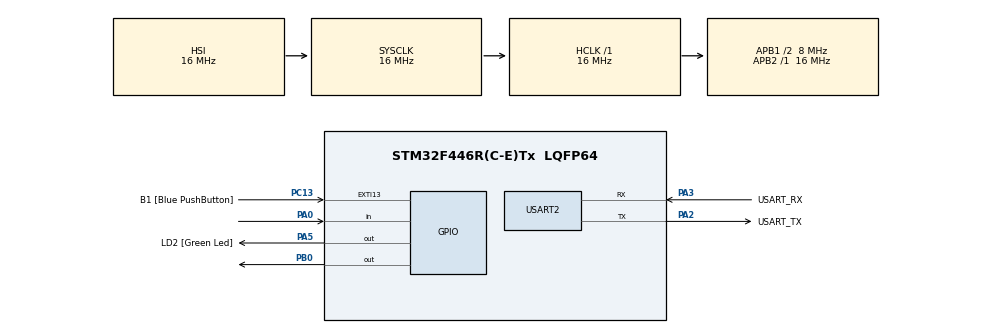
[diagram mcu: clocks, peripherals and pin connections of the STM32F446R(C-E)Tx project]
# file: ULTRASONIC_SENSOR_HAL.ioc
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Mcu.Family=STM32F4
Mcu.Name=STM32F446R(C-E)Tx
Mcu.Package=LQFP64
NVIC.PriorityGroup=NVIC_PRIORITYGROUP_0
PA0-WKUP.Signal=GPIO_Input
PA13.GPIO_Label=TMS
PA13.Mode=Serial_Wire
PA13.Signal=SYS_JTMS-SWDIO
PA14.GPIO_Label=TCK
PA14.Mode=Serial_Wire
PA14.Signal=SYS_JTCK-SWCLK
PA2.GPIO_Label=USART_TX
PA2.Mode=Asynchronous
PA2.Signal=USART2_TX
PA3.GPIO_Label=USART_RX
PA3.Mode=Asynchronous
PA3.Signal=USART2_RX
PA5.GPIO_Label=LD2 [Green Led]
PA5.Signal=GPIO_Output
PB0.Signal=GPIO_Output
PB3.GPIO_Label=SWO
PB3.Signal=SYS_JTDO-SWO
PC13.GPIO_Label=B1 [Blue PushButton]
PC13.GPIO_ModeDefaultEXTI=GPIO_MODE_IT_FALLING
PC13.Signal=GPXTI13
PC14-OSC32_IN.Mode=LSE-External-Oscillator
PC14-OSC32_IN.Signal=RCC_OSC32_IN
PC15-OSC32_OUT.Mode=LSE-External-Oscillator
PC15-OSC32_OUT.Signal=RCC_OSC32_OUT
PH0-OSC_IN.Mode=HSE-External-Oscillator
PH0-OSC_IN.Signal=RCC_OSC_IN
PH1-OSC_OUT.Mode=HSE-External-Oscillator
PH1-OSC_OUT.Signal=RCC_OSC_OUT
ProjectManager.HeapSize=0x200
ProjectManager.StackSize=0x400
ProjectManager.TargetToolchain=STM32CubeIDE
RCC.48MHZClocksFreq_Value=84000000
RCC.AHBFreq_Value=16000000
RCC.APB1CLKDivider=RCC_HCLK_DIV2
RCC.APB1Freq_Value=8000000
RCC.APB1TimFreq_Value=16000000
RCC.APB2Freq_Value=16000000
RCC.APB2TimFreq_Value=16000000
RCC.CortexFreq_Value=16000000
RCC.FLatency-AdvancedSettings=FLASH_LATENCY_0
RCC.HCLKFreq_Value=16000000
RCC.HSE_VALUE=8000000
RCC.HSI_VALUE=16000000
RCC.PLLN=336
RCC.PLLP=RCC_PLLP_DIV4
RCC.SYSCLKFreq_VALUE=16000000
RCC.USBFreq_Value=168000000
RCC.VCOOutputFreq_Value=336000000
TIM2.Period=65535
TIM2.Prescaler=15
USART2.VirtualMode=VM_ASYNC
VP_TIM2_VS_ClockSourceINT.Mode=Internal
board=NUCLEO-F446RE

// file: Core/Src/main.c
/* USER CODE BEGIN Header */
/**
  ******************************************************************************
  * @file           : main.c
  * @brief          : Main program body
  ******************************************************************************
  * @attention
  *
  * Copyright (c) 2026 STMicroelectronics.
  * All rights reserved.
  *
  * This software is licensed under terms that can be found in the LICENSE file
  * in the root directory of this software component.
  * If no LICENSE file comes with this software, it is provided AS-IS.
  *
  ******************************************************************************
  */
/* USER CODE END Header */
#include "main.h"
#include <stdio.h>
#include <string.h>

TIM_HandleTypeDef htim2;

UART_HandleTypeDef huart2;

/* USER CODE BEGIN PV */
char msg[50];
float distance;
/* USER CODE END PV */

void SystemClock_Config(void);
static void MX_GPIO_Init(void);
static void MX_USART2_UART_Init(void);
static void MX_TIM2_Init(void);

/* USER CODE BEGIN PFP */
void delay_us(uint16_t us);
float HCSR04_Read(void);
/* USER CODE END PFP */

int main(void)
{

  /* MCU Configuration--------------------------------------------------------*/

  /* Reset of all peripherals, Initializes the Flash interface and the Systick. */
  HAL_Init();

  /* Configure the system clock */
  SystemClock_Config();

  /* Initialize all configured peripherals */
  MX_GPIO_Init();
  MX_USART2_UART_Init();
  MX_TIM2_Init();
  /* USER CODE BEGIN 2 */
  HAL_TIM_IC_Start(&htim2, TIM_CHANNEL_1);
  /* USER CODE END 2 */

  /* Infinite loop */
  while (1)
  {
	  distance = HCSR04_Read();

	      if(distance < 0)
	      {
	          sprintf(msg,"No Object\r\n");
	      }
	      else
	      {
	    	  int dist = (int)distance;

	    	  sprintf(msg,"Distance = %d cm\r\n",dist);
	      }

	      HAL_UART_Transmit(&huart2,
	                       (uint8_t*)msg,
	                       strlen(msg),
	                       HAL_MAX_DELAY);

	      HAL_Delay(500);
  }
}

void SystemClock_Config(void)
{
  RCC_OscInitTypeDef RCC_OscInitStruct = {0};
  RCC_ClkInitTypeDef RCC_ClkInitStruct = {0};

  /** Configure the main internal regulator output voltage
  */
  __HAL_RCC_PWR_CLK_ENABLE();
  __HAL_PWR_VOLTAGESCALING_CONFIG(PWR_REGULATOR_VOLTAGE_SCALE3);

  /** Initializes the RCC Oscillators according to the specified parameters
  * in the RCC_OscInitTypeDef structure.
  */
  RCC_OscInitStruct.OscillatorType = RCC_OSCILLATORTYPE_HSI;
  RCC_OscInitStruct.HSIState = RCC_HSI_ON;
  RCC_OscInitStruct.HSICalibrationValue = RCC_HSICALIBRATION_DEFAULT;
  RCC_OscInitStruct.PLL.PLLState = RCC_PLL_NONE;
  if (HAL_RCC_OscConfig(&RCC_OscInitStruct) != HAL_OK)
  {
    Error_Handler();
  }

  /** Initializes the CPU, AHB and APB buses clocks
  */
  RCC_ClkInitStruct.ClockType = RCC_CLOCKTYPE_HCLK|RCC_CLOCKTYPE_SYSCLK
                              |RCC_CLOCKTYPE_PCLK1|RCC_CLOCKTYPE_PCLK2;
  RCC_ClkInitStruct.SYSCLKSource = RCC_SYSCLKSOURCE_HSI;
  RCC_ClkInitStruct.AHBCLKDivider = RCC_SYSCLK_DIV1;
  RCC_ClkInitStruct.APB1CLKDivider = RCC_HCLK_DIV2;
  RCC_ClkInitStruct.APB2CLKDivider = RCC_HCLK_DIV1;

  if (HAL_RCC_ClockConfig(&RCC_ClkInitStruct, FLASH_LATENCY_0) != HAL_OK)
  {
    Error_Handler();
  }
}

static void MX_TIM2_Init(void)
{

  TIM_ClockConfigTypeDef sClockSourceConfig = {0};
  TIM_MasterConfigTypeDef sMasterConfig = {0};

  htim2.Instance = TIM2;
  htim2.Init.Prescaler = 15;
  htim2.Init.CounterMode = TIM_COUNTERMODE_UP;
  htim2.Init.Period = 65535;
  htim2.Init.ClockDivision = TIM_CLOCKDIVISION_DIV1;
  htim2.Init.AutoReloadPreload = TIM_AUTORELOAD_PRELOAD_DISABLE;
  if (HAL_TIM_Base_Init(&htim2) != HAL_OK)
  {
    Error_Handler();
  }
  sClockSourceConfig.ClockSource = TIM_CLOCKSOURCE_INTERNAL;
  if (HAL_TIM_ConfigClockSource(&htim2, &sClockSourceConfig) != HAL_OK)
  {
    Error_Handler();
  }
  sMasterConfig.MasterOutputTrigger = TIM_TRGO_RESET;
  sMasterConfig.MasterSlaveMode = TIM_MASTERSLAVEMODE_DISABLE;
  if (HAL_TIMEx_MasterConfigSynchronization(&htim2, &sMasterConfig) != HAL_OK)
  {
    Error_Handler();
  }

}

static void MX_USART2_UART_Init(void)
{

  huart2.Instance = USART2;
  huart2.Init.BaudRate = 115200;
  huart2.Init.WordLength = UART_WORDLENGTH_8B;
  huart2.Init.StopBits = UART_STOPBITS_1;
  huart2.Init.Parity = UART_PARITY_NONE;
  huart2.Init.Mode = UART_MODE_TX_RX;
  huart2.Init.HwFlowCtl = UART_HWCONTROL_NONE;
  huart2.Init.OverSampling = UART_OVERSAMPLING_16;
  if (HAL_UART_Init(&huart2) != HAL_OK)
  {
    Error_Handler();
  }

}

static void MX_GPIO_Init(void)
{
  GPIO_InitTypeDef GPIO_InitStruct = {0};

  /* GPIO Ports Clock Enable */
  __HAL_RCC_GPIOC_CLK_ENABLE();
  __HAL_RCC_GPIOH_CLK_ENABLE();
  __HAL_RCC_GPIOA_CLK_ENABLE();
  __HAL_RCC_GPIOB_CLK_ENABLE();

  /*Configure GPIO pin Output Level */
  HAL_GPIO_WritePin(LD2_GPIO_Port, LD2_Pin, GPIO_PIN_RESET);

  /*Configure GPIO pin Output Level */
  HAL_GPIO_WritePin(GPIOB, GPIO_PIN_0, GPIO_PIN_RESET);

  /*Configure GPIO pin : B1_Pin */
  GPIO_InitStruct.Pin = B1_Pin;
  GPIO_InitStruct.Mode = GPIO_MODE_IT_FALLING;
  GPIO_InitStruct.Pull = GPIO_NOPULL;
  HAL_GPIO_Init(B1_GPIO_Port, &GPIO_InitStruct);

  /*Configure GPIO pin : PA0 */
  GPIO_InitStruct.Pin = GPIO_PIN_0;
  GPIO_InitStruct.Mode = GPIO_MODE_INPUT;
  GPIO_InitStruct.Pull = GPIO_NOPULL;
  HAL_GPIO_Init(GPIOA, &GPIO_InitStruct);

  /*Configure GPIO pin : LD2_Pin */
  GPIO_InitStruct.Pin = LD2_Pin;
  GPIO_InitStruct.Mode = GPIO_MODE_OUTPUT_PP;
  GPIO_InitStruct.Pull = GPIO_NOPULL;
  GPIO_InitStruct.Speed = GPIO_SPEED_FREQ_LOW;
  HAL_GPIO_Init(LD2_GPIO_Port, &GPIO_InitStruct);

  /*Configure GPIO pin : PB0 */
  GPIO_InitStruct.Pin = GPIO_PIN_0;
  GPIO_InitStruct.Mode = GPIO_MODE_OUTPUT_PP;
  GPIO_InitStruct.Pull = GPIO_NOPULL;
  GPIO_InitStruct.Speed = GPIO_SPEED_FREQ_LOW;
  HAL_GPIO_Init(GPIOB, &GPIO_InitStruct);

}

/* USER CODE BEGIN 4 */
void delay_us(uint16_t us)
{
    __HAL_TIM_SET_COUNTER(&htim2, 0);
    while (__HAL_TIM_GET_COUNTER(&htim2) < us);
}
float HCSR04_Read(void)
{
    uint32_t time;
    uint32_t timeout;

    HAL_GPIO_WritePin(GPIOB,GPIO_PIN_0,GPIO_PIN_RESET);
    delay_us(2);

    HAL_GPIO_WritePin(GPIOB,GPIO_PIN_0,GPIO_PIN_SET);
    delay_us(10);

    HAL_GPIO_WritePin(GPIOB,GPIO_PIN_0,GPIO_PIN_RESET);

    timeout = 30000;

    while(HAL_GPIO_ReadPin(GPIOA,GPIO_PIN_0)==GPIO_PIN_RESET)
    {
        if(timeout--==0)
            return -1;
    }

    __HAL_TIM_SET_COUNTER(&htim2,0);

    timeout = 30000;

    while(HAL_GPIO_ReadPin(GPIOA,GPIO_PIN_0)==GPIO_PIN_SET)
    {
        if(timeout--==0)
            break;
    }

    time = __HAL_TIM_GET_COUNTER(&htim2);

    return (time*0.0343f)/2.0f;
}
/* USER CODE END 4 */

void Error_Handler(void)
{
  __disable_irq();
  while (1)
  {
  }
}
